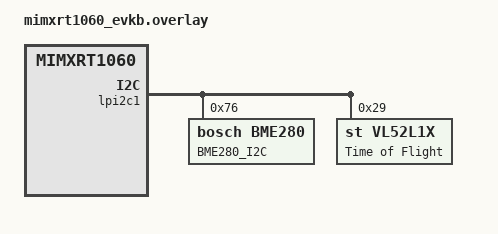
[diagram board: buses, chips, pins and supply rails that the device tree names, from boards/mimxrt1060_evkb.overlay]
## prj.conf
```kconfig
CONFIG_GPIO=y
CONFIG_LOG=y
CONFIG_SHELL=y
CONFIG_SPI=y
```

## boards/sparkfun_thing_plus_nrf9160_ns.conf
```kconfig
CONFIG_SPI=y
CONFIG_GPIO=y
```

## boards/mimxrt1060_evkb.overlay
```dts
&lpi2c1 {
	weather_click: bme280@76 {
		compatible = "bosch,bme280";
		reg = <0x76>;
		label = "BME280_I2C";
	};
	tof: vl53l1x@29 {
		compatible = "st,vl52l1x";
		reg = <0x29>;
		label = "Time of Flight";
	};
};

spi2 {
	compatible = "nordic,nrf-spim";
	status = "okay";
	cs-gpios = <&gpio0 18 GPIO_ACTIVE_LOW>;
	pinctrl-0 = <&spi2_default>;
	pinctrl-1 = <&spi2_sleep>;
	pinctrl-names = "default", "sleep";
};


pinctrl {
	spi2_default: spi2_default {
		group1 {
			psels = <NRF_PSEL(SPIM_SCK, 0, 19)>,
				<NRF_PSEL(SPIM_MOSI, 0, 21)>,
				<NRF_PSEL(SPIM_MISO, 0, 22)>;
		};
	};

	spi2_sleep: spi2_sleep {
		group1 {
			psels = <NRF_PSEL(SPIM_SCK, 0, 19)>,
				<NRF_PSEL(SPIM_MOSI, 0, 21)>,
				<NRF_PSEL(SPIM_MISO, 0, 22)>;
			low-power-enable;
		};
	};

};
```

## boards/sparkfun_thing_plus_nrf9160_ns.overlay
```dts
&spi2 {
	status = "okay";
	cs-gpios = <&gpio0 18 GPIO_ACTIVE_LOW>;
	pinctrl-0 = <&spi2_default>;
	pinctrl-1 = <&spi2_sleep>;
	pinctrl-names = "default", "sleep";
	mcp3201: mcp3201@0 {
		compatible = "vnd,spi-device";
		reg = <0>;
		spi-max-frequency = <1600000>;
		label = "mcp3201";
	};
};

&pinctrl {
	spi2_default: spi2_default {
		group1 {
			psels = <NRF_PSEL(SPIM_SCK, 0, 19)>,
				<NRF_PSEL(SPIM_MOSI, 0, 21)>,
				<NRF_PSEL(SPIM_MISO, 0, 22)>;
		};
	};

	spi2_sleep: spi2_sleep {
		group1 {
			psels = <NRF_PSEL(SPIM_SCK, 0, 19)>,
				<NRF_PSEL(SPIM_MOSI, 0, 21)>,
				<NRF_PSEL(SPIM_MISO, 0, 22)>;
			low-power-enable;
		};
	};
};
```

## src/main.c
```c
/*
 * Copyright (c) 2016 Intel Corporation
 *
 * SPDX-License-Identifier: Apache-2.0
 */

#include <zephyr/zephyr.h>
#include <zephyr/drivers/gpio.h>
#include <zephyr/logging/log.h>
#include <stdbool.h>
LOG_MODULE_REGISTER(basic_spi, LOG_LEVEL_DBG);

#define SPI_OP	SPI_OP_MODE_MASTER | SPI_MODE_CPOL | SPI_MODE_CPHA | SPI_WORD_SET(8) | SPI_LINES_SINGLE

/* 1000 msec = 1 sec */
#define SLEEP_TIME_MS   1000

/* The devicetree node identifier for the "led0" alias. */
#define LED0_NODE DT_ALIAS(led0)

/* https://stackoverflow.com/a/69152884 */
#include <drivers/gpio.h>
#include <drivers/spi.h>

/*
 * Validate data received from MCP3201
 */
int validate_adc_data(uint8_t buf_data[4], uint16_t *adc_validated) {
	if (buf_data[0] & 1<<5) { return -ENOTSUP; }	/* Missing NULL bit */
	uint16_t data_msb = 0;
	uint16_t data_lsb = 0;
	data_msb = buf_data[0] & 0x1F;
	data_msb |= (data_msb<<7) | (buf_data[1]>>1);
	for (uint8_t i=0; i<12; i++) {
		bool bit_set = false;
		if (i < 2) {
			if (buf_data[1] & (1<<(1-i))) { bit_set = true; }
		}
		else if (i < 10) {
			if (buf_data[2] & (1<<(2+7-i))) { bit_set = true; }
		}
		else {
			if (buf_data[3] & (1<<(10+7-i))) { bit_set = true; }
		}

		if (bit_set) { data_lsb |= (1<<i); }
	}

					/* d[1].1 d[1].0 d[2].7 d[2].6 ... d[3].7 */
	if (data_msb != data_lsb) {
		LOG_DBG("data_msb=0x%04x data_lsb=0x%04x", data_msb, data_lsb);
		return -ENOTSUP;
	}
	
	*adc_validated = data_msb;	
	return 0;
}

/*
 * A build error on this line means your board is unsupported.
 * See the sample documentation for information on how to fix this.
 */
static const struct gpio_dt_spec led = GPIO_DT_SPEC_GET(LED0_NODE, gpios);

void main(void)
{
	LOG_INF("Started SPI demo");
	int ret;

	if (!device_is_ready(led.port)) {
		return;
	}

	ret = gpio_pin_configure_dt(&led, GPIO_OUTPUT_ACTIVE);
	if (ret < 0) {
		return;
	}
	const struct spi_dt_spec mcp3201_dev =
		SPI_DT_SPEC_GET(DT_NODELABEL(mcp3201), SPI_OP, 0);

	LOG_INF("spi_cs.bus = %p", mcp3201_dev.bus);
	LOG_INF("spi_cs.config.cs->gpio.port = %p", mcp3201_dev.config.cs->gpio.port);
	LOG_INF("spi_cs.config.cs->gpio.pin = %u", mcp3201_dev.config.cs->gpio.pin);
	
	uint8_t my_buffer[4] = {0};
	struct spi_buf my_spi_buffer[1];
	my_spi_buffer[0].buf = my_buffer;
	my_spi_buffer[0].len = 4;
	const struct spi_buf_set rx_buff = { my_spi_buffer, 1 };
	uint16_t valid_adc_data = 0;

	while (1) {
		ret = spi_read_dt(&mcp3201_dev, &rx_buff);
		if (ret) { LOG_INF("spi_read status: %d", ret); }
		LOG_INF("Received 4 bytes: %d %d %d %d",
					my_buffer[0],my_buffer[1],my_buffer[2], my_buffer[3]
					);
		ret = validate_adc_data(my_buffer, &valid_adc_data);
		if (ret == 0) { LOG_INF("Got ADC value: 0x%04x", valid_adc_data); }

		ret = gpio_pin_toggle_dt(&led);
		if (ret < 0) {
			return;
		}
		k_msleep(SLEEP_TIME_MS);
	}
}
```
